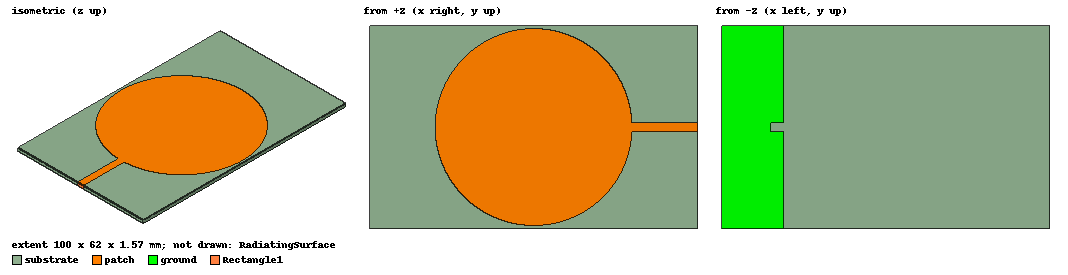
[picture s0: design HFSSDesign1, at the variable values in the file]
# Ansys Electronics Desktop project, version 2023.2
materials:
  vacuum: permittivity=1
  FR4_epoxy: permittivity=4.4 dielectric_loss_tangent=0.02
  air: permittivity=1.0006 permeability=1.0000004

design HFSSDesign1 (HFSS, HFSS Terminal Network, model units mm)
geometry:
  substrate [FR4_epoxy] = box(corner=(-50mm, -31mm, 0mm), size=(100mm, 62mm, 1.57mm))
  ground = rectangle(corner=(50mm, -31mm, 0mm), x_size=-19mm, y_size=62mm)
  Circle = circle(normal=Z, centre=(0mm, 0mm, 1.57mm), radius=30mm)
  patch = rectangle(corner=(27mm, -1.5mm, 1.57mm), x_size=23mm, y_size=3mm)
  patch.unite(Circle)
  Rectangle1 = rectangle(corner=(50mm, -1.5mm, 1.57mm), y_size=3mm, z_size=-1.57mm)
  Rectangle2 = rectangle(corner=(31mm, -1.5mm, 0mm), x_size=4mm, y_size=3mm)
  ground.subtract(Rectangle2)
  RadiatingSurface [vacuum] = region(absolute_offset=36.231884mm on all sides)
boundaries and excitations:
  PerfE1: Perfect E Objects=[ground, patch]
  Open1: Radiation Objects=RadiatingSurface
  1: Lumped Port Objects=Rectangle1 LumpedPortType=Modal Modes{Mode1{IntLine{(50, 0, 0) -> (50, 0, 1.57)} CharImp=Zpi}} Impedance=50ohm
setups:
  Setup1: HfssDriven MultipleAdaptiveFreqsSetup{Low=2GHz High=2.7GHz} MaxDeltaS=0.02 MaximumPasses=6 MinimumPasses=1 MinimumConvergedPasses=1 PercentRefinement=30 BasisOrder=1 PortAccuracy=2 DrivenSolverType="Direct Solver"
    sweep Sweep: 1GHz to 14GHz, 100 points; Type=Fast SaveFields
  Setup2: HfssDriven Frequency=8.5GHz MaxDeltaS=0.02 MaximumPasses=6 MinimumPasses=1 MinimumConvergedPasses=1 PercentRefinement=30 BasisOrder=1 PortAccuracy=2 DrivenSolverType="Direct Solver"
    sweep Sweep: 1GHz to 14GHz, 401 points; Type=Interpolating InterpTolerance=0.5 InterpMaxSolns=250 PassivityErrorTolerance=0.0001
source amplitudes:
  1:1: 1V 0deg
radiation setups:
  3D: Infinite Sphere Theta=0deg..180deg step 2deg Phi=-180deg..180deg step 2deg
  Elevation: Infinite Sphere Theta=-180deg..180deg step 1deg Phi=0deg..90deg step 90deg
  Azimuth: Infinite Sphere Theta=90deg..90deg step 0deg Phi=-180deg..180deg step 1deg
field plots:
  Mag_Jsurf1, Mag_Jsurf5: Jsurf over ground.face(at (40.5, 0, 0)) patch.face(at (9.76, 0, 1.57)) Rectangle1.face on Setup1 : LastAdaptive at Freq=2.35GHz Phase=0deg
  Mag_Jsurf2: Jsurf over ground.face(at (40.5, 0, 0)) patch.face(at (9.76, 0, 1.57)) Rectangle1.face on Setup1 : Sweep at Freq=3.49495GHz Phase=0deg
  Mag_Jsurf3, Mag_Jsurf4: Jsurf over patch.face(at (9.76, 0, 1.57)) on Setup1 : LastAdaptive at Freq=2.35GHz Phase=0deg
  Mag_E1: E Field on Setup1 : LastAdaptive at Freq=2.35GHz Phase=0deg
  Mag_E2: E Field over patch.face(at (9.76, 0, 1.57)) on Setup1 : LastAdaptive at Freq=2.35GHz Phase=0deg
  Mag_H1: H Field on Setup1 : LastAdaptive at Freq=2.35GHz Phase=0deg
  Mag_H2: H Field over patch.face(at (9.76, 0, 1.57)) on Setup2 : LastAdaptive at Freq=8.5GHz Phase=0deg
  Mag_E3: E Field over patch.face(at (9.76, 0, 1.57)) on Setup2 : LastAdaptive at Freq=8.5GHz Phase=90deg
  Mag_H3: H Field over patch.face(at (9.76, 0, 1.57)) on Setup1 : LastAdaptive at Freq=2.35GHz Phase=0deg
  Mag_Jsurf6, Mag_Jsurf7: Jsurf over ground.face(at (40.5, 0, 0)) patch.face(at (9.76, 0, 1.57)) Rectangle1.face on Setup2 : LastAdaptive at Freq=8.5GHz Phase=0deg
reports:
  Terminal S Parameter Plot 1: dB(St(1,1)) vs Freq on Setup1 : Sweep
  rE Plot 1: dB(rETotal) vs Theta on Setup1 : LastAdaptive, 3D [Phi=all Freq=2.35GHz]
  rE Plot 2: dB(rETotal) vs Theta on Setup2 : LastAdaptive, 3D [Phi=0deg Freq=8.5GHz]
